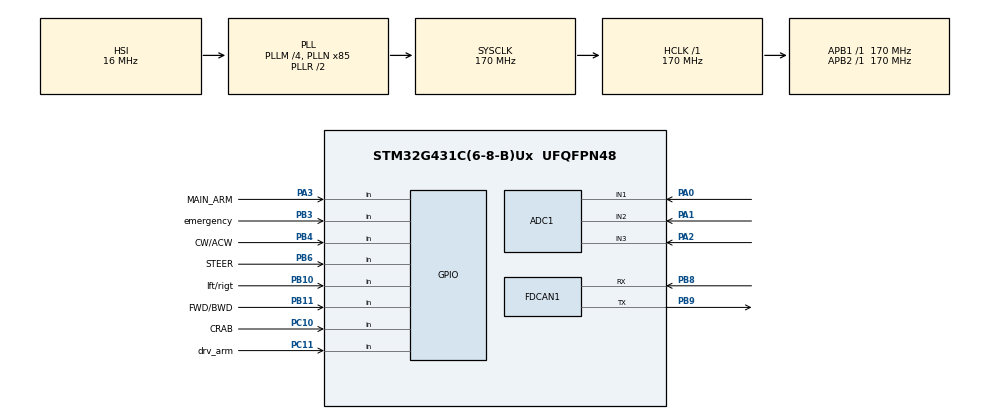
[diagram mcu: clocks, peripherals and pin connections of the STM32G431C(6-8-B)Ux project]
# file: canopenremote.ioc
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ADC1.Channel-4\#ChannelRegularConversion=ADC_CHANNEL_1
ADC1.Channel-5\#ChannelRegularConversion=ADC_CHANNEL_2
ADC1.Channel-6\#ChannelRegularConversion=ADC_CHANNEL_3
ADC1.ContinuousConvMode=DISABLE
ADC1.DMAContinuousRequests=ENABLE
ADC1.ExternalTrigConv=ADC_EXTERNALTRIG_T2_TRGO
ADC1.NbrOfConversion=3
ADC1.NbrOfConversionFlag=1
ADC1.OffsetNumber-4\#ChannelRegularConversion=ADC_OFFSET_NONE
ADC1.OffsetNumber-5\#ChannelRegularConversion=ADC_OFFSET_NONE
ADC1.OffsetNumber-6\#ChannelRegularConversion=ADC_OFFSET_NONE
ADC1.Rank-4\#ChannelRegularConversion=1
ADC1.Rank-5\#ChannelRegularConversion=2
ADC1.Rank-6\#ChannelRegularConversion=3
ADC1.SamplingTime-4\#ChannelRegularConversion=ADC_SAMPLETIME_47CYCLES_5
ADC1.SamplingTime-5\#ChannelRegularConversion=ADC_SAMPLETIME_47CYCLES_5
ADC1.SamplingTime-6\#ChannelRegularConversion=ADC_SAMPLETIME_47CYCLES_5
ADC1.master=1
Dma.ADC1.0.Direction=DMA_PERIPH_TO_MEMORY
Dma.ADC1.0.EventEnable=DISABLE
Dma.ADC1.0.Instance=DMA1_Channel1
Dma.ADC1.0.MemDataAlignment=DMA_MDATAALIGN_HALFWORD
Dma.ADC1.0.MemInc=DMA_MINC_ENABLE
Dma.ADC1.0.Mode=DMA_CIRCULAR
Dma.ADC1.0.PeriphDataAlignment=DMA_PDATAALIGN_HALFWORD
Dma.ADC1.0.PeriphInc=DMA_PINC_DISABLE
Dma.ADC1.0.Polarity=HAL_DMAMUX_REQ_GEN_RISING
Dma.ADC1.0.Priority=DMA_PRIORITY_LOW
Dma.ADC1.0.RequestNumber=1
Dma.ADC1.0.SignalID=NONE
Dma.ADC1.0.SyncEnable=DISABLE
Dma.ADC1.0.SyncPolarity=HAL_DMAMUX_SYNC_NO_EVENT
Dma.ADC1.0.SyncRequestNumber=1
Dma.ADC1.0.SyncSignalID=NONE
Dma.Request0=ADC1
FDCAN1.AutoRetransmission=ENABLE
FDCAN1.CalculateBaudRateNominal=250000
FDCAN1.CalculateTimeBitNominal=4000
FDCAN1.CalculateTimeQuantumNominal=200.0
FDCAN1.NominalPrescaler=34
FDCAN1.NominalSyncJumpWidth=4
FDCAN1.NominalTimeSeg1=15
FDCAN1.NominalTimeSeg2=4
FDCAN1.ProtocolException=ENABLE
FDCAN1.StdFiltersNbr=28
Mcu.Family=STM32G4
Mcu.Name=STM32G431C(6-8-B)Ux
Mcu.Package=UFQFPN48
NVIC.ADC1_2_IRQn=true\:2\:0\:true\:false\:true\:true\:true\:true
NVIC.DMA1_Channel1_IRQn=true\:2\:0\:true\:false\:true\:false\:true\:true
NVIC.FDCAN1_IT0_IRQn=true\:0\:0\:false\:false\:true\:true\:true\:true
NVIC.FDCAN1_IT1_IRQn=true\:0\:0\:false\:false\:true\:true\:true\:true
NVIC.PriorityGroup=NVIC_PRIORITYGROUP_4
NVIC.TIM6_DAC_IRQn=true\:0\:0\:false\:false\:true\:true\:true\:true
PA0.Mode=IN1-Single-Ended
PA0.Signal=ADC1_IN1
PA1.Mode=IN2-Single-Ended
PA1.Signal=ADC1_IN2
PA13.Mode=Serial_Wire
PA13.Signal=SYS_JTMS-SWDIO
PA14.Mode=Serial_Wire
PA14.Signal=SYS_JTCK-SWCLK
PA2.Mode=IN3-Single-Ended
PA2.Signal=ADC1_IN3
PA3.GPIO_Label=MAIN_ARM
PA3.GPIO_PuPd=GPIO_PULLUP
PA3.Signal=GPIO_Input
PB10.GPIO_Label=lft/rigt
PB10.GPIO_PuPd=GPIO_PULLUP
PB10.Signal=GPIO_Input
PB11.GPIO_Label=FWD/BWD
PB11.GPIO_PuPd=GPIO_PULLUP
PB11.Signal=GPIO_Input
PB3.GPIO_Label=emergency
PB3.GPIO_PuPd=GPIO_PULLUP
PB3.Signal=GPIO_Input
PB4.GPIO_Label=CW/ACW
PB4.GPIO_PuPd=GPIO_PULLUP
PB4.Signal=GPIO_Input
PB6.GPIO_Label=STEER
PB6.GPIO_PuPd=GPIO_PULLUP
PB6.Signal=GPIO_Input
PB8-BOOT0.Mode=FDCAN_Activate
PB8-BOOT0.Signal=FDCAN1_RX
PB9.Mode=FDCAN_Activate
PB9.Signal=FDCAN1_TX
PC10.GPIO_Label=CRAB
PC10.GPIO_PuPd=GPIO_PULLUP
PC10.Signal=GPIO_Input
PC11.GPIO_Label=drv_arm
PC11.GPIO_PuPd=GPIO_PULLUP
PC11.Signal=GPIO_Input
PF0-OSC_IN.Mode=HSE-External-Oscillator
PF0-OSC_IN.Signal=RCC_OSC_IN
PF1-OSC_OUT.Mode=HSE-External-Oscillator
PF1-OSC_OUT.Signal=RCC_OSC_OUT
ProjectManager.HeapSize=0x200
ProjectManager.StackSize=0x400
ProjectManager.TargetToolchain=STM32CubeIDE
RCC.ADC12Freq_Value=170000000
RCC.AHBFreq_Value=170000000
RCC.APB1Freq_Value=170000000
RCC.APB1TimFreq_Value=170000000
RCC.APB2Freq_Value=170000000
RCC.APB2TimFreq_Value=170000000
RCC.CortexFreq_Value=170000000
RCC.EXTERNAL_CLOCK_VALUE=12288000
RCC.HCLKFreq_Value=170000000
RCC.HSE_VALUE=8000000
RCC.HSI48_VALUE=48000000
RCC.HSI_VALUE=16000000
RCC.LSE_VALUE=32768
RCC.PLLM=RCC_PLLM_DIV4
RCC.PLLN=85
RCC.SYSCLKFreq_VALUE=170000000
RCC.SYSCLKSource=RCC_SYSCLKSOURCE_PLLCLK
RCC.USBFreq_Value=170000000
RCC.VCOOutputFreq_Value=340000000
TIM2.PeriodNoDither=99
TIM2.Prescaler=16999
TIM2.TIM_MasterOutputTrigger=TIM_TRGO_UPDATE
TIM6.AutoReloadPreload=TIM_AUTORELOAD_PRELOAD_ENABLE
TIM6.PeriodNoDither=999
TIM6.Prescaler=169
VP_SYS_VS_DBSignals.Mode=DisableDeadBatterySignals
VP_TIM2_VS_ClockSourceINT.Mode=Internal
VP_TIM6_VS_ClockSourceINT.Mode=Enable_Timer
board=custom

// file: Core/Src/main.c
/* USER CODE BEGIN Header */
/**
  ******************************************************************************
  * @file           : main.c
  * @brief          : Main program body
  * CREATED BY      : AMAL VISHNU US
  ******************************************************************************
  * @attention
  *
  * Copyright (c) 2026 STMicroelectronics.
  * All rights reserved.
  *
  * This software is licensed under terms that can be found in the LICENSE file
  * in the root directory of this software component.
  * If no LICENSE file comes with this software, it is provided AS-IS.
  *
  ******************************************************************************
  */
/* USER CODE END Header */
#include "main.h"

/* USER CODE BEGIN Includes */
#include "CO_app_STM32.h"
#include "OD.h"
/* USER CODE END Includes */

ADC_HandleTypeDef hadc1;
DMA_HandleTypeDef hdma_adc1;

FDCAN_HandleTypeDef hfdcan1;

TIM_HandleTypeDef htim2;
TIM_HandleTypeDef htim6;

/* USER CODE BEGIN PV */
uint16_t adc_values[3];  // [0] = X-axis, [1] = Y-axis
volatile int debug_step = 0;
volatile int canopen_result = -1;

volatile uint8_t debug_main_arm = 0;
volatile uint8_t debug_fwd_bwd = 0;
volatile uint8_t debug_left_right = 0;
volatile uint8_t debug_cw_acw = 0;
volatile uint8_t debug_crab = 0;
volatile uint8_t debug_steering = 0;
volatile uint8_t debug_drive_arm = 0;
volatile uint8_t debug_emergency = 0;

/* PLC command data received via RPDO1 (read from OD 0x2003) */
volatile uint8_t plc_command = 0;
volatile int16_t plc_value1 = 0;
volatile int16_t plc_value2 = 0;
volatile uint8_t plc_flags = 0;

volatile uint16_t debug_adc_raw_0 = 0;
volatile uint16_t debug_adc_raw_1 = 0;
volatile uint16_t debug_adc_raw_2 = 0;

/* USER CODE END PV */

void SystemClock_Config(void);
static void MX_GPIO_Init(void);
static void MX_DMA_Init(void);
static void MX_ADC1_Init(void);
static void MX_FDCAN1_Init(void);
static void MX_TIM6_Init(void);
static void MX_TIM2_Init(void);

/* USER CODE BEGIN 0 */
void HAL_TIM_PeriodElapsedCallback(TIM_HandleTypeDef *htim)
{
    if (htim == canopenNodeSTM32->timerHandle) {
        canopen_app_interrupt();
    }
}
/* USER CODE END 0 */

int main(void)
{

  /* MCU Configuration--------------------------------------------------------*/

  /* Reset of all peripherals, Initializes the Flash interface and the Systick. */
  HAL_Init();

  /* Configure the system clock */
  SystemClock_Config();

  /* Initialize all configured peripherals */
  MX_GPIO_Init();
  MX_DMA_Init();
  MX_ADC1_Init();
  MX_FDCAN1_Init();
  MX_TIM6_Init();
  MX_TIM2_Init();
  /* USER CODE BEGIN 2 */
  debug_step = 1;
       // Medium - ADC
  HAL_ADCEx_Calibration_Start(&hadc1, ADC_SINGLE_ENDED);
  debug_step = 2;

  CANopenNodeSTM32 canOpenNodeSTM32;
  canOpenNodeSTM32.CANHandle = &hfdcan1;
  canOpenNodeSTM32.HWInitFunction = MX_FDCAN1_Init;
  canOpenNodeSTM32.timerHandle = &htim6;
  canOpenNodeSTM32.desiredNodeID = 21;
  canOpenNodeSTM32.baudrate = 250;
  debug_step = 3;
  canopen_result = canopen_app_init(&canOpenNodeSTM32);
  debug_step = 4;

  // Disable DMA and ADC interrupts - just run in background

  HAL_ADC_Start_DMA(&hadc1, (uint32_t*)adc_values, 3);

  debug_step = 5;

  HAL_TIM_Base_Start(&htim2);

//  HAL_ADC_Start_DMA(&hadc1, (uint32_t*)adc_values, 2);
  /* USER CODE END 2 */

  /* Infinite loop */
  /* USER CODE BEGIN WHILE */
  while (1)
  {
	  debug_step = 10;

	    int16_t steering = ((int32_t)adc_values[0] - 2048) * 100 / 2048;
	    int16_t throttle = ((int32_t)adc_values[1] - 2048) * 100 / 2048;
	    int16_t pot_value  = ((int32_t)adc_values[2] - 2048) * 100 / 2048;

	    // ========== READ SWITCHES (Active LOW - inverted) ==========
	     uint8_t main_arm   = !HAL_GPIO_ReadPin(MAIN_ARM_GPIO_Port, MAIN_ARM_Pin);
	     uint8_t fwd_bwd    = !HAL_GPIO_ReadPin(FWD_BWD_GPIO_Port, FWD_BWD_Pin);
	     uint8_t left_right = !HAL_GPIO_ReadPin(lft_rigt_GPIO_Port, lft_rigt_Pin);
	     uint8_t cw_acw     = !HAL_GPIO_ReadPin(CW_ACW_GPIO_Port, CW_ACW_Pin);
	     uint8_t crab       = !HAL_GPIO_ReadPin(CRAB_GPIO_Port, CRAB_Pin);
	     uint8_t steer      = !HAL_GPIO_ReadPin(STEER_GPIO_Port, STEER_Pin);
	     uint8_t drive_arm  = !HAL_GPIO_ReadPin(drv_arm_GPIO_Port, drv_arm_Pin);
	     uint8_t emergency  = !HAL_GPIO_ReadPin(emergency_GPIO_Port, emergency_Pin);

	     debug_main_arm = main_arm;
	     debug_fwd_bwd = fwd_bwd;
	     debug_left_right = left_right;
	     debug_cw_acw = cw_acw;
	     debug_crab = crab;
	     debug_steering = steer;
	     debug_drive_arm = drive_arm;
	     debug_emergency = emergency;

	    OD_RAM.x2000_joystick_highestSubIndex.joystick_X = steering;
	    OD_RAM.x2000_joystick_highestSubIndex.joystick_Y = throttle;

	    // Switches (0x2001)
	        OD_RAM.x2001_switches.main_arm   = main_arm;
	        OD_RAM.x2001_switches.fwd_bwd    = fwd_bwd;
	        OD_RAM.x2001_switches.left_right = left_right;
	        OD_RAM.x2001_switches.cw_acw     = cw_acw;
	        OD_RAM.x2001_switches.crab       = crab;
	        OD_RAM.x2001_switches.steering   = steer;
	        OD_RAM.x2001_switches.drive_arm  = drive_arm;
	        OD_RAM.x2001_switches.emergency  = emergency;

	        // Potentiometer (0x2002)
	        OD_RAM.x2002_potentiometer.pot_value = pot_value;

	        // ========== READ PLC COMMANDS VIA RPDO1 (OD 0x2003) ==========
	        // The CANopen stack writes incoming RPDO data to OD_RAM.x2003_plc_commands
	        // These values are updated automatically when the PLC sends to CAN ID 0x215
	        //
	        // NOTE: You must regenerate OD.h/OD.c from the updated XDD file
	        //       using CANopenEditor before this code will compile.
	        plc_command = OD_RAM.x2003_plc_commands.command;
	        plc_value1  = OD_RAM.x2003_plc_commands.value1;
	        plc_value2  = OD_RAM.x2003_plc_commands.value2;
	        plc_flags   = OD_RAM.x2003_plc_commands.flags;

	        // ========== ACT ON PLC COMMANDS ==========
	        // Add your command handling logic here. Example:
	        // if (plc_command == 1) { /* do something with plc_value1, plc_value2 */ }
	        // if (plc_flags & 0x01) { /* flag bit 0 is set */ }

	        // ========== PROCESS CANOPEN ==========
	        canopen_app_process();

    /* USER CODE END WHILE */

  }
}

void SystemClock_Config(void)
{
  RCC_OscInitTypeDef RCC_OscInitStruct = {0};
  RCC_ClkInitTypeDef RCC_ClkInitStruct = {0};

  /** Configure the main internal regulator output voltage
  */
  HAL_PWREx_ControlVoltageScaling(PWR_REGULATOR_VOLTAGE_SCALE1_BOOST);

  /** Initializes the RCC Oscillators according to the specified parameters
  * in the RCC_OscInitTypeDef structure.
  */
  RCC_OscInitStruct.OscillatorType = RCC_OSCILLATORTYPE_HSI;
  RCC_OscInitStruct.HSIState = RCC_HSI_ON;
  RCC_OscInitStruct.HSICalibrationValue = RCC_HSICALIBRATION_DEFAULT;
  RCC_OscInitStruct.PLL.PLLState = RCC_PLL_ON;
  RCC_OscInitStruct.PLL.PLLSource = RCC_PLLSOURCE_HSI;
  RCC_OscInitStruct.PLL.PLLM = RCC_PLLM_DIV4;
  RCC_OscInitStruct.PLL.PLLN = 85;
  RCC_OscInitStruct.PLL.PLLP = RCC_PLLP_DIV2;
  RCC_OscInitStruct.PLL.PLLQ = RCC_PLLQ_DIV2;
  RCC_OscInitStruct.PLL.PLLR = RCC_PLLR_DIV2;
  if (HAL_RCC_OscConfig(&RCC_OscInitStruct) != HAL_OK)
  {
    Error_Handler();
  }

  /** Initializes the CPU, AHB and APB buses clocks
  */
  RCC_ClkInitStruct.ClockType = RCC_CLOCKTYPE_HCLK|RCC_CLOCKTYPE_SYSCLK
                              |RCC_CLOCKTYPE_PCLK1|RCC_CLOCKTYPE_PCLK2;
  RCC_ClkInitStruct.SYSCLKSource = RCC_SYSCLKSOURCE_PLLCLK;
  RCC_ClkInitStruct.AHBCLKDivider = RCC_SYSCLK_DIV1;
  RCC_ClkInitStruct.APB1CLKDivider = RCC_HCLK_DIV1;
  RCC_ClkInitStruct.APB2CLKDivider = RCC_HCLK_DIV1;

  if (HAL_RCC_ClockConfig(&RCC_ClkInitStruct, FLASH_LATENCY_4) != HAL_OK)
  {
    Error_Handler();
  }
}

static void MX_ADC1_Init(void)
{

  ADC_MultiModeTypeDef multimode = {0};
  ADC_ChannelConfTypeDef sConfig = {0};

  /** Common config
  */
  hadc1.Instance = ADC1;
  hadc1.Init.ClockPrescaler = ADC_CLOCK_SYNC_PCLK_DIV4;
  hadc1.Init.Resolution = ADC_RESOLUTION_12B;
  hadc1.Init.DataAlign = ADC_DATAALIGN_RIGHT;
  hadc1.Init.GainCompensation = 0;
  hadc1.Init.ScanConvMode = ADC_SCAN_ENABLE;
  hadc1.Init.EOCSelection = ADC_EOC_SINGLE_CONV;
  hadc1.Init.LowPowerAutoWait = DISABLE;
  hadc1.Init.ContinuousConvMode = DISABLE;
  hadc1.Init.NbrOfConversion = 3;
  hadc1.Init.DiscontinuousConvMode = DISABLE;
  hadc1.Init.ExternalTrigConv = ADC_EXTERNALTRIG_T2_TRGO;
  hadc1.Init.ExternalTrigConvEdge = ADC_EXTERNALTRIGCONVEDGE_RISING;
  hadc1.Init.DMAContinuousRequests = ENABLE;
  hadc1.Init.Overrun = ADC_OVR_DATA_PRESERVED;
  hadc1.Init.OversamplingMode = DISABLE;
  if (HAL_ADC_Init(&hadc1) != HAL_OK)
  {
    Error_Handler();
  }

  /** Configure the ADC multi-mode
  */
  multimode.Mode = ADC_MODE_INDEPENDENT;
  if (HAL_ADCEx_MultiModeConfigChannel(&hadc1, &multimode) != HAL_OK)
  {
    Error_Handler();
  }

  /** Configure Regular Channel
  */
  sConfig.Channel = ADC_CHANNEL_1;
  sConfig.Rank = ADC_REGULAR_RANK_1;
  sConfig.SamplingTime = ADC_SAMPLETIME_47CYCLES_5;
  sConfig.SingleDiff = ADC_SINGLE_ENDED;
  sConfig.OffsetNumber = ADC_OFFSET_NONE;
  sConfig.Offset = 0;
  if (HAL_ADC_ConfigChannel(&hadc1, &sConfig) != HAL_OK)
  {
    Error_Handler();
  }

  /** Configure Regular Channel
  */
  sConfig.Channel = ADC_CHANNEL_2;
  sConfig.Rank = ADC_REGULAR_RANK_2;
  if (HAL_ADC_ConfigChannel(&hadc1, &sConfig) != HAL_OK)
  {
    Error_Handler();
  }

  /** Configure Regular Channel
  */
  sConfig.Channel = ADC_CHANNEL_3;
  sConfig.Rank = ADC_REGULAR_RANK_3;
  if (HAL_ADC_ConfigChannel(&hadc1, &sConfig) != HAL_OK)
  {
    Error_Handler();
  }

}

static void MX_FDCAN1_Init(void)
{

  hfdcan1.Instance = FDCAN1;
  hfdcan1.Init.ClockDivider = FDCAN_CLOCK_DIV1;
  hfdcan1.Init.FrameFormat = FDCAN_FRAME_CLASSIC;
  hfdcan1.Init.Mode = FDCAN_MODE_NORMAL;
  hfdcan1.Init.AutoRetransmission = ENABLE;
  hfdcan1.Init.TransmitPause = DISABLE;
  hfdcan1.Init.ProtocolException = ENABLE;
  hfdcan1.Init.NominalPrescaler = 34;
  hfdcan1.Init.NominalSyncJumpWidth = 4;
  hfdcan1.Init.NominalTimeSeg1 = 15;
  hfdcan1.Init.NominalTimeSeg2 = 4;
  hfdcan1.Init.DataPrescaler = 1;
  hfdcan1.Init.DataSyncJumpWidth = 1;
  hfdcan1.Init.DataTimeSeg1 = 1;
  hfdcan1.Init.DataTimeSeg2 = 1;
  hfdcan1.Init.StdFiltersNbr = 28;
  hfdcan1.Init.ExtFiltersNbr = 0;
  hfdcan1.Init.TxFifoQueueMode = FDCAN_TX_FIFO_OPERATION;
  if (HAL_FDCAN_Init(&hfdcan1) != HAL_OK)
  {
    Error_Handler();
  }

}

static void MX_TIM2_Init(void)
{

  TIM_ClockConfigTypeDef sClockSourceConfig = {0};
  TIM_MasterConfigTypeDef sMasterConfig = {0};

  htim2.Instance = TIM2;
  htim2.Init.Prescaler = 16999;
  htim2.Init.CounterMode = TIM_COUNTERMODE_UP;
  htim2.Init.Period = 99;
  htim2.Init.ClockDivision = TIM_CLOCKDIVISION_DIV1;
  htim2.Init.AutoReloadPreload = TIM_AUTORELOAD_PRELOAD_DISABLE;
  if (HAL_TIM_Base_Init(&htim2) != HAL_OK)
  {
    Error_Handler();
  }
  sClockSourceConfig.ClockSource = TIM_CLOCKSOURCE_INTERNAL;
  if (HAL_TIM_ConfigClockSource(&htim2, &sClockSourceConfig) != HAL_OK)
  {
    Error_Handler();
  }
  sMasterConfig.MasterOutputTrigger = TIM_TRGO_UPDATE;
  sMasterConfig.MasterSlaveMode = TIM_MASTERSLAVEMODE_DISABLE;
  if (HAL_TIMEx_MasterConfigSynchronization(&htim2, &sMasterConfig) != HAL_OK)
  {
    Error_Handler();
  }

}

static void MX_TIM6_Init(void)
{

  TIM_MasterConfigTypeDef sMasterConfig = {0};

  htim6.Instance = TIM6;
  htim6.Init.Prescaler = 169;
  htim6.Init.CounterMode = TIM_COUNTERMODE_UP;
  htim6.Init.Period = 999;
  htim6.Init.AutoReloadPreload = TIM_AUTORELOAD_PRELOAD_ENABLE;
  if (HAL_TIM_Base_Init(&htim6) != HAL_OK)
  {
    Error_Handler();
  }
  sMasterConfig.MasterOutputTrigger = TIM_TRGO_RESET;
  sMasterConfig.MasterSlaveMode = TIM_MASTERSLAVEMODE_DISABLE;
  if (HAL_TIMEx_MasterConfigSynchronization(&htim6, &sMasterConfig) != HAL_OK)
  {
    Error_Handler();
  }

}

static void MX_DMA_Init(void)
{

  /* DMA controller clock enable */
  __HAL_RCC_DMAMUX1_CLK_ENABLE();
  __HAL_RCC_DMA1_CLK_ENABLE();

  /* DMA interrupt init */
  /* DMA1_Channel1_IRQn interrupt configuration */
  HAL_NVIC_SetPriority(DMA1_Channel1_IRQn, 2, 0);
  HAL_NVIC_EnableIRQ(DMA1_Channel1_IRQn);

}

static void MX_GPIO_Init(void)
{
  GPIO_InitTypeDef GPIO_InitStruct = {0};

  /* GPIO Ports Clock Enable */
  __HAL_RCC_GPIOF_CLK_ENABLE();
  __HAL_RCC_GPIOA_CLK_ENABLE();
  __HAL_RCC_GPIOB_CLK_ENABLE();
  __HAL_RCC_GPIOC_CLK_ENABLE();

  /*Configure GPIO pin : MAIN_ARM_Pin */
  GPIO_InitStruct.Pin = MAIN_ARM_Pin;
  GPIO_InitStruct.Mode = GPIO_MODE_INPUT;
  GPIO_InitStruct.Pull = GPIO_PULLUP;
  HAL_GPIO_Init(MAIN_ARM_GPIO_Port, &GPIO_InitStruct);

  /*Configure GPIO pins : lft_rigt_Pin FWD_BWD_Pin emergency_Pin CW_ACW_Pin
                           STEER_Pin */
  GPIO_InitStruct.Pin = lft_rigt_Pin|FWD_BWD_Pin|emergency_Pin|CW_ACW_Pin
                          |STEER_Pin;
  GPIO_InitStruct.Mode = GPIO_MODE_INPUT;
  GPIO_InitStruct.Pull = GPIO_PULLUP;
  HAL_GPIO_Init(GPIOB, &GPIO_InitStruct);

  /*Configure GPIO pins : CRAB_Pin drv_arm_Pin */
  GPIO_InitStruct.Pin = CRAB_Pin|drv_arm_Pin;
  GPIO_InitStruct.Mode = GPIO_MODE_INPUT;
  GPIO_InitStruct.Pull = GPIO_PULLUP;
  HAL_GPIO_Init(GPIOC, &GPIO_InitStruct);

}

void Error_Handler(void)
{
  __disable_irq();
  while (1)
  {
  }
}
